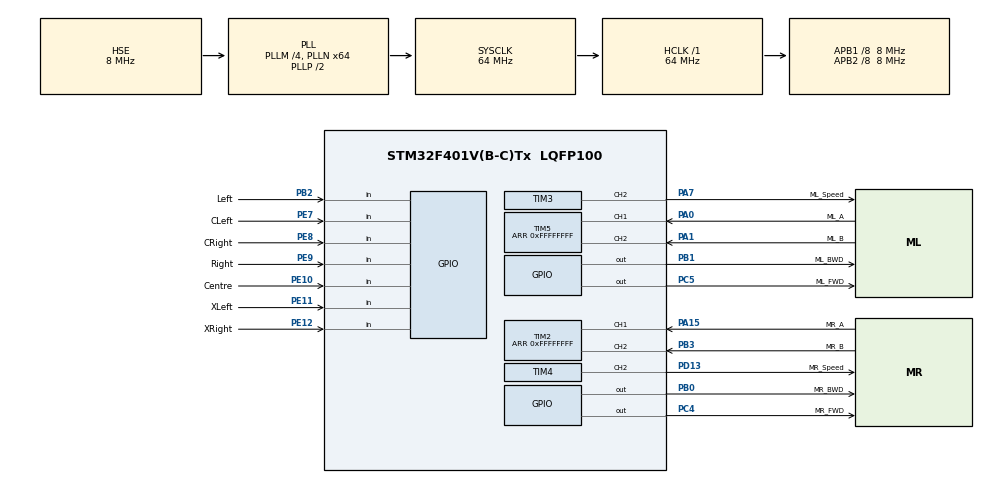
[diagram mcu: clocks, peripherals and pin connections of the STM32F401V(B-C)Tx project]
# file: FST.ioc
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Mcu.Family=STM32F4
Mcu.Name=STM32F401V(B-C)Tx
Mcu.Package=LQFP100
NVIC.PriorityGroup=NVIC_PRIORITYGROUP_0
NVIC.TIM1_UP_TIM10_IRQn=true\:0\:0\:false\:false\:true\:true\:true
PA0-WKUP.GPIO_Label=ML_A
PA0-WKUP.Signal=S_TIM5_CH1
PA1.GPIO_Label=ML_B
PA1.Signal=S_TIM5_CH2
PA13.Mode=Serial_Wire
PA13.Signal=SYS_JTMS-SWDIO
PA14.Mode=Serial_Wire
PA14.Signal=SYS_JTCK-SWCLK
PA15.GPIO_Label=MR_A
PA15.Signal=S_TIM2_CH1_ETR
PA7.GPIO_Label=ML_Speed
PA7.Signal=S_TIM3_CH2
PB0.GPIO_Label=MR_BWD
PB0.Signal=GPIO_Output
PB1.GPIO_Label=ML_BWD
PB1.Signal=GPIO_Output
PB2.GPIO_Label=Left
PB2.Signal=GPIO_Input
PB3.GPIO_Label=MR_B
PB3.Signal=S_TIM2_CH2
PC4.GPIO_Label=MR_FWD
PC4.Signal=GPIO_Output
PC5.GPIO_Label=ML_FWD
PC5.Signal=GPIO_Output
PD13.GPIO_Label=MR_Speed
PD13.Signal=S_TIM4_CH2
PE10.GPIO_Label=Centre
PE10.Signal=GPIO_Input
PE11.GPIO_Label=XLeft
PE11.Signal=GPIO_Input
PE12.GPIO_Label=XRight
PE12.Signal=GPIO_Input
PE7.GPIO_Label=CLeft
PE7.Signal=GPIO_Input
PE8.GPIO_Label=CRight
PE8.Signal=GPIO_Input
PE9.GPIO_Label=Right
PE9.Signal=GPIO_Input
PH0\ -\ OSC_IN.Mode=HSE-External-Oscillator
PH0\ -\ OSC_IN.Signal=RCC_OSC_IN
PH1\ -\ OSC_OUT.Mode=HSE-External-Oscillator
PH1\ -\ OSC_OUT.Signal=RCC_OSC_OUT
ProjectManager.HeapSize=0x200
ProjectManager.StackSize=0x400
ProjectManager.TargetToolchain=MDK-ARM V5.27
RCC.48MHZClocksFreq_Value=18285714.285714287
RCC.AHBFreq_Value=64000000
RCC.APB1CLKDivider=RCC_HCLK_DIV8
RCC.APB1Freq_Value=8000000
RCC.APB1TimFreq_Value=16000000
RCC.APB2CLKDivider=RCC_HCLK_DIV8
RCC.APB2Freq_Value=8000000
RCC.APB2TimFreq_Value=16000000
RCC.CortexFreq_Value=64000000
RCC.HCLKFreq_Value=64000000
RCC.HSE_VALUE=8000000
RCC.HSI_VALUE=16000000
RCC.LSE_VALUE=32768
RCC.PLLM=4
RCC.PLLN=64
RCC.PLLQ=7
RCC.PLLSourceVirtual=RCC_PLLSOURCE_HSE
RCC.SYSCLKFreq_VALUE=64000000
RCC.SYSCLKSource=RCC_SYSCLKSOURCE_PLLCLK
RCC.VCOOutputFreq_Value=128000000
SH.S_TIM2_CH1_ETR.0=TIM2_CH1,Encoder_Interface
SH.S_TIM2_CH2.0=TIM2_CH2,Encoder_Interface
SH.S_TIM3_CH2.0=TIM3_CH2,PWM Generation2 CH2
SH.S_TIM4_CH2.0=TIM4_CH2,PWM Generation2 CH2
SH.S_TIM5_CH1.0=TIM5_CH1,Encoder_Interface
SH.S_TIM5_CH2.0=TIM5_CH2,Encoder_Interface
TIM1.Period=65535
TIM1.Prescaler=16000
TIM1.TIM_MasterOutputTrigger=TIM_TRGO_UPDATE
TIM2.Period=0xFFFFFFFF
TIM3.Channel-PWM\ Generation2\ CH2=TIM_CHANNEL_2
TIM3.Period=1000
TIM3.Prescaler=16
TIM4.Channel-PWM\ Generation2\ CH2=TIM_CHANNEL_2
TIM4.Period=1000
TIM4.Prescaler=16
TIM5.Period=0xFFFFFFFF
VP_TIM1_VS_ClockSourceINT.Mode=Internal
board=STM32F401C-DISCO

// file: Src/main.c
#include "main.h"

/* USER CODE BEGIN Includes */
#include <stdbool.h>
/* USER CODE END Includes */

TIM_HandleTypeDef htim1;
TIM_HandleTypeDef htim2;
TIM_HandleTypeDef htim3;
TIM_HandleTypeDef htim4;
TIM_HandleTypeDef htim5;

void SystemClock_Config(void);
static void MX_GPIO_Init(void);
static void MX_TIM2_Init(void);
static void MX_TIM3_Init(void);
static void MX_TIM5_Init(void);
static void MX_TIM1_Init(void);
static void MX_TIM4_Init(void);

/* USER CODE BEGIN 0 */
void motorR_forward(uint32_t motor_speed);
void motorR_backward(uint32_t motor_speed);
void motorR_stop(void);
void motorL_forward(uint32_t motor_speed);
void motorL_backward(uint32_t motor_speed);
void motorL_stop(void);
void FWD(uint32_t motorR_speed,uint32_t motorL_speed);
void BWD(uint32_t motorR_speed,uint32_t motorL_speed);
void TurnL(int32_t motorR_speed,int32_t motorL_speed);
void TurnR(int32_t motorR_speed,int32_t motorL_speed);
void TurnLPro(int32_t motorR_speed,int32_t motorL_speed);
void TurnRPro(int32_t motorR_speed,int32_t motorL_speed);
void stop(void);
void readSensors(void);
void suiveur(void);
//************************************************************ MY Variables ******************************************************
//************************************************************ MY Variables ******************************************************
//************************************************************ MY Variables ******************************************************

bool L,CL,CR,R,C,XL,XR; // my sensors
bool reverse_line_color=false;
bool enable_TurnLPro=true;
bool enable_TurnRPro=false;
bool interrupted_line=false;
bool interrupted_line_done=false;
bool first_turn_after_9alba=true;
int32_t right_ticks=0;
int32_t left_ticks=0;
int32_t previous_right_ticks=0;
int32_t previous_left_ticks=0;
int32_t Rticks_diff=0;
int32_t Lticks_diff=0;
uint16_t right_speed=290;
uint16_t left_speed=330;
int16_t right_error=0;
int16_t left_error=0;
uint16_t desired_speed=55;
uint8_t kp=5;
uint16_t previous_time=0;
uint16_t change_line_time_mark=0;

//************************************************************ END OF MY VARIABLES ******************************************************
//************************************************************ END OF MY VARIABLES ******************************************************
//************************************************************ END OF MY VARIABLES ******************************************************

/* USER CODE END 0 */

int main(void)
{

  /* MCU Configuration--------------------------------------------------------*/

  /* Reset of all peripherals, Initializes the Flash interface and the Systick. */
  HAL_Init();

  /* Configure the system clock */
  SystemClock_Config();

  /* Initialize all configured peripherals */
  MX_GPIO_Init();
  MX_TIM2_Init();
  MX_TIM3_Init();
  MX_TIM5_Init();
  MX_TIM1_Init();
  MX_TIM4_Init();
  /* USER CODE BEGIN 2 */
	HAL_TIM_Base_Start_IT(&htim1);
	HAL_TIM_Encoder_Start(&htim2,TIM_CHANNEL_ALL);
	HAL_TIM_Encoder_Start(&htim5,TIM_CHANNEL_ALL);
  /* USER CODE END 2 */

  /* Infinite loop */
  /* USER CODE BEGIN WHILE */
	/*************************************************************my loop**********************************************************************/
	/*************************************************************my loop**********************************************************************/
	/*************************************************************my loop**********************************************************************/

while (1)
  {
		suiveur();
    /* USER CODE END WHILE */

    /* USER CODE BEGIN 3 */
  }

	/*******************************************************end of my loop**********************************************************************/
	/*******************************************************end of my loop**********************************************************************/
	/*******************************************************end of my loop**********************************************************************/
  /* USER CODE END 3 */
}

void SystemClock_Config(void)
{
  RCC_OscInitTypeDef RCC_OscInitStruct = {0};
  RCC_ClkInitTypeDef RCC_ClkInitStruct = {0};

  /** Configure the main internal regulator output voltage
  */
  __HAL_RCC_PWR_CLK_ENABLE();
  __HAL_PWR_VOLTAGESCALING_CONFIG(PWR_REGULATOR_VOLTAGE_SCALE2);
  /** Initializes the CPU, AHB and APB busses clocks
  */
  RCC_OscInitStruct.OscillatorType = RCC_OSCILLATORTYPE_HSE;
  RCC_OscInitStruct.HSEState = RCC_HSE_ON;
  RCC_OscInitStruct.PLL.PLLState = RCC_PLL_ON;
  RCC_OscInitStruct.PLL.PLLSource = RCC_PLLSOURCE_HSE;
  RCC_OscInitStruct.PLL.PLLM = 4;
  RCC_OscInitStruct.PLL.PLLN = 64;
  RCC_OscInitStruct.PLL.PLLP = RCC_PLLP_DIV2;
  RCC_OscInitStruct.PLL.PLLQ = 7;
  if (HAL_RCC_OscConfig(&RCC_OscInitStruct) != HAL_OK)
  {
    Error_Handler();
  }
  /** Initializes the CPU, AHB and APB busses clocks
  */
  RCC_ClkInitStruct.ClockType = RCC_CLOCKTYPE_HCLK|RCC_CLOCKTYPE_SYSCLK
                              |RCC_CLOCKTYPE_PCLK1|RCC_CLOCKTYPE_PCLK2;
  RCC_ClkInitStruct.SYSCLKSource = RCC_SYSCLKSOURCE_PLLCLK;
  RCC_ClkInitStruct.AHBCLKDivider = RCC_SYSCLK_DIV1;
  RCC_ClkInitStruct.APB1CLKDivider = RCC_HCLK_DIV8;
  RCC_ClkInitStruct.APB2CLKDivider = RCC_HCLK_DIV8;

  if (HAL_RCC_ClockConfig(&RCC_ClkInitStruct, FLASH_LATENCY_2) != HAL_OK)
  {
    Error_Handler();
  }
}

static void MX_TIM1_Init(void)
{

  TIM_ClockConfigTypeDef sClockSourceConfig = {0};
  TIM_MasterConfigTypeDef sMasterConfig = {0};

  htim1.Instance = TIM1;
  htim1.Init.Prescaler = 16000;
  htim1.Init.CounterMode = TIM_COUNTERMODE_UP;
  htim1.Init.Period = 65535;
  htim1.Init.ClockDivision = TIM_CLOCKDIVISION_DIV1;
  htim1.Init.RepetitionCounter = 0;
  htim1.Init.AutoReloadPreload = TIM_AUTORELOAD_PRELOAD_DISABLE;
  if (HAL_TIM_Base_Init(&htim1) != HAL_OK)
  {
    Error_Handler();
  }
  sClockSourceConfig.ClockSource = TIM_CLOCKSOURCE_INTERNAL;
  if (HAL_TIM_ConfigClockSource(&htim1, &sClockSourceConfig) != HAL_OK)
  {
    Error_Handler();
  }
  sMasterConfig.MasterOutputTrigger = TIM_TRGO_UPDATE;
  sMasterConfig.MasterSlaveMode = TIM_MASTERSLAVEMODE_DISABLE;
  if (HAL_TIMEx_MasterConfigSynchronization(&htim1, &sMasterConfig) != HAL_OK)
  {
    Error_Handler();
  }

}

static void MX_TIM2_Init(void)
{

  TIM_Encoder_InitTypeDef sConfig = {0};
  TIM_MasterConfigTypeDef sMasterConfig = {0};

  htim2.Instance = TIM2;
  htim2.Init.Prescaler = 0;
  htim2.Init.CounterMode = TIM_COUNTERMODE_UP;
  htim2.Init.Period = 0xFFFFFFFF;
  htim2.Init.ClockDivision = TIM_CLOCKDIVISION_DIV1;
  htim2.Init.AutoReloadPreload = TIM_AUTORELOAD_PRELOAD_DISABLE;
  sConfig.EncoderMode = TIM_ENCODERMODE_TI1;
  sConfig.IC1Polarity = TIM_ICPOLARITY_RISING;
  sConfig.IC1Selection = TIM_ICSELECTION_DIRECTTI;
  sConfig.IC1Prescaler = TIM_ICPSC_DIV1;
  sConfig.IC1Filter = 0;
  sConfig.IC2Polarity = TIM_ICPOLARITY_RISING;
  sConfig.IC2Selection = TIM_ICSELECTION_DIRECTTI;
  sConfig.IC2Prescaler = TIM_ICPSC_DIV1;
  sConfig.IC2Filter = 0;
  if (HAL_TIM_Encoder_Init(&htim2, &sConfig) != HAL_OK)
  {
    Error_Handler();
  }
  sMasterConfig.MasterOutputTrigger = TIM_TRGO_RESET;
  sMasterConfig.MasterSlaveMode = TIM_MASTERSLAVEMODE_DISABLE;
  if (HAL_TIMEx_MasterConfigSynchronization(&htim2, &sMasterConfig) != HAL_OK)
  {
    Error_Handler();
  }

}

static void MX_TIM3_Init(void)
{

  TIM_MasterConfigTypeDef sMasterConfig = {0};
  TIM_OC_InitTypeDef sConfigOC = {0};

  htim3.Instance = TIM3;
  htim3.Init.Prescaler = 16;
  htim3.Init.CounterMode = TIM_COUNTERMODE_UP;
  htim3.Init.Period = 1000;
  htim3.Init.ClockDivision = TIM_CLOCKDIVISION_DIV1;
  htim3.Init.AutoReloadPreload = TIM_AUTORELOAD_PRELOAD_DISABLE;
  if (HAL_TIM_PWM_Init(&htim3) != HAL_OK)
  {
    Error_Handler();
  }
  sMasterConfig.MasterOutputTrigger = TIM_TRGO_RESET;
  sMasterConfig.MasterSlaveMode = TIM_MASTERSLAVEMODE_DISABLE;
  if (HAL_TIMEx_MasterConfigSynchronization(&htim3, &sMasterConfig) != HAL_OK)
  {
    Error_Handler();
  }
  sConfigOC.OCMode = TIM_OCMODE_PWM1;
  sConfigOC.Pulse = 0;
  sConfigOC.OCPolarity = TIM_OCPOLARITY_HIGH;
  sConfigOC.OCFastMode = TIM_OCFAST_DISABLE;
  if (HAL_TIM_PWM_ConfigChannel(&htim3, &sConfigOC, TIM_CHANNEL_2) != HAL_OK)
  {
    Error_Handler();
  }
  HAL_TIM_MspPostInit(&htim3);

}

static void MX_TIM4_Init(void)
{

  TIM_MasterConfigTypeDef sMasterConfig = {0};
  TIM_OC_InitTypeDef sConfigOC = {0};

  htim4.Instance = TIM4;
  htim4.Init.Prescaler = 16;
  htim4.Init.CounterMode = TIM_COUNTERMODE_UP;
  htim4.Init.Period = 1000;
  htim4.Init.ClockDivision = TIM_CLOCKDIVISION_DIV1;
  htim4.Init.AutoReloadPreload = TIM_AUTORELOAD_PRELOAD_DISABLE;
  if (HAL_TIM_PWM_Init(&htim4) != HAL_OK)
  {
    Error_Handler();
  }
  sMasterConfig.MasterOutputTrigger = TIM_TRGO_RESET;
  sMasterConfig.MasterSlaveMode = TIM_MASTERSLAVEMODE_DISABLE;
  if (HAL_TIMEx_MasterConfigSynchronization(&htim4, &sMasterConfig) != HAL_OK)
  {
    Error_Handler();
  }
  sConfigOC.OCMode = TIM_OCMODE_PWM1;
  sConfigOC.Pulse = 0;
  sConfigOC.OCPolarity = TIM_OCPOLARITY_HIGH;
  sConfigOC.OCFastMode = TIM_OCFAST_DISABLE;
  if (HAL_TIM_PWM_ConfigChannel(&htim4, &sConfigOC, TIM_CHANNEL_2) != HAL_OK)
  {
    Error_Handler();
  }
  HAL_TIM_MspPostInit(&htim4);

}

static void MX_TIM5_Init(void)
{

  TIM_Encoder_InitTypeDef sConfig = {0};
  TIM_MasterConfigTypeDef sMasterConfig = {0};

  htim5.Instance = TIM5;
  htim5.Init.Prescaler = 0;
  htim5.Init.CounterMode = TIM_COUNTERMODE_UP;
  htim5.Init.Period = 0xFFFFFFFF;
  htim5.Init.ClockDivision = TIM_CLOCKDIVISION_DIV1;
  htim5.Init.AutoReloadPreload = TIM_AUTORELOAD_PRELOAD_DISABLE;
  sConfig.EncoderMode = TIM_ENCODERMODE_TI1;
  sConfig.IC1Polarity = TIM_ICPOLARITY_RISING;
  sConfig.IC1Selection = TIM_ICSELECTION_DIRECTTI;
  sConfig.IC1Prescaler = TIM_ICPSC_DIV1;
  sConfig.IC1Filter = 0;
  sConfig.IC2Polarity = TIM_ICPOLARITY_RISING;
  sConfig.IC2Selection = TIM_ICSELECTION_DIRECTTI;
  sConfig.IC2Prescaler = TIM_ICPSC_DIV1;
  sConfig.IC2Filter = 0;
  if (HAL_TIM_Encoder_Init(&htim5, &sConfig) != HAL_OK)
  {
    Error_Handler();
  }
  sMasterConfig.MasterOutputTrigger = TIM_TRGO_RESET;
  sMasterConfig.MasterSlaveMode = TIM_MASTERSLAVEMODE_DISABLE;
  if (HAL_TIMEx_MasterConfigSynchronization(&htim5, &sMasterConfig) != HAL_OK)
  {
    Error_Handler();
  }

}

static void MX_GPIO_Init(void)
{
  GPIO_InitTypeDef GPIO_InitStruct = {0};

  /* GPIO Ports Clock Enable */
  __HAL_RCC_GPIOH_CLK_ENABLE();
  __HAL_RCC_GPIOA_CLK_ENABLE();
  __HAL_RCC_GPIOC_CLK_ENABLE();
  __HAL_RCC_GPIOB_CLK_ENABLE();
  __HAL_RCC_GPIOE_CLK_ENABLE();
  __HAL_RCC_GPIOD_CLK_ENABLE();

  /*Configure GPIO pin Output Level */
  HAL_GPIO_WritePin(GPIOC, MR_FWD_Pin|ML_FWD_Pin, GPIO_PIN_RESET);

  /*Configure GPIO pin Output Level */
  HAL_GPIO_WritePin(GPIOB, MR_BWD_Pin|ML_BWD_Pin, GPIO_PIN_RESET);

  /*Configure GPIO pins : MR_FWD_Pin ML_FWD_Pin */
  GPIO_InitStruct.Pin = MR_FWD_Pin|ML_FWD_Pin;
  GPIO_InitStruct.Mode = GPIO_MODE_OUTPUT_PP;
  GPIO_InitStruct.Pull = GPIO_NOPULL;
  GPIO_InitStruct.Speed = GPIO_SPEED_FREQ_LOW;
  HAL_GPIO_Init(GPIOC, &GPIO_InitStruct);

  /*Configure GPIO pins : MR_BWD_Pin ML_BWD_Pin */
  GPIO_InitStruct.Pin = MR_BWD_Pin|ML_BWD_Pin;
  GPIO_InitStruct.Mode = GPIO_MODE_OUTPUT_PP;
  GPIO_InitStruct.Pull = GPIO_NOPULL;
  GPIO_InitStruct.Speed = GPIO_SPEED_FREQ_LOW;
  HAL_GPIO_Init(GPIOB, &GPIO_InitStruct);

  /*Configure GPIO pin : Left_Pin */
  GPIO_InitStruct.Pin = Left_Pin;
  GPIO_InitStruct.Mode = GPIO_MODE_INPUT;
  GPIO_InitStruct.Pull = GPIO_NOPULL;
  HAL_GPIO_Init(Left_GPIO_Port, &GPIO_InitStruct);

  /*Configure GPIO pins : CLeft_Pin CRight_Pin Right_Pin Centre_Pin
                           XLeft_Pin XRight_Pin */
  GPIO_InitStruct.Pin = CLeft_Pin|CRight_Pin|Right_Pin|Centre_Pin
                          |XLeft_Pin|XRight_Pin;
  GPIO_InitStruct.Mode = GPIO_MODE_INPUT;
  GPIO_InitStruct.Pull = GPIO_NOPULL;
  HAL_GPIO_Init(GPIOE, &GPIO_InitStruct);

}

/* USER CODE BEGIN 4 */
//************************************************************ MY Functions ******************************************************
//************************************************************ MY Functions ******************************************************
//************************************************************ MY Functions ******************************************************

void readSensors(void) //************************************************************************** readSensors
{
	L=HAL_GPIO_ReadPin(Left_GPIO_Port,Left_Pin);
	CL=HAL_GPIO_ReadPin(CLeft_GPIO_Port,CLeft_Pin);
	CR=HAL_GPIO_ReadPin(CRight_GPIO_Port,CRight_Pin);
	R=HAL_GPIO_ReadPin(Right_GPIO_Port,Right_Pin);
	C=!HAL_GPIO_ReadPin(Centre_GPIO_Port,Centre_Pin);
	XL=!HAL_GPIO_ReadPin(XLeft_GPIO_Port,XLeft_Pin);
	XR=!HAL_GPIO_ReadPin(XRight_GPIO_Port,XRight_Pin);
	if (!reverse_line_color)
	{
		L=!L;
		CL=!CL;
		CR=!CR;
		R=!R;
		C=!C;
		XL=!XL;
		XR=!XR;
	}
}

void motorR_forward(uint32_t motor_speed)
{
	HAL_GPIO_WritePin(MR_FWD_GPIO_Port,MR_FWD_Pin,GPIO_PIN_SET);
	HAL_GPIO_WritePin(MR_BWD_GPIO_Port,MR_BWD_Pin,GPIO_PIN_RESET);
	HAL_TIM_PWM_Stop(&htim4, TIM_CHANNEL_2);
	TIM4->CCR2=motor_speed;
	HAL_TIM_PWM_Start(&htim4, TIM_CHANNEL_2);
}
void motorR_backward(uint32_t motor_speed)
{
	HAL_GPIO_WritePin(MR_FWD_GPIO_Port,MR_FWD_Pin,GPIO_PIN_RESET);
	HAL_GPIO_WritePin(MR_BWD_GPIO_Port,MR_BWD_Pin,GPIO_PIN_SET);
	HAL_TIM_PWM_Stop(&htim4, TIM_CHANNEL_2);
	TIM4->CCR2=motor_speed;
	HAL_TIM_PWM_Start(&htim4, TIM_CHANNEL_2);
}
void motorR_stop(void)
{
	HAL_GPIO_WritePin(MR_FWD_GPIO_Port,MR_FWD_Pin,GPIO_PIN_SET);
	HAL_GPIO_WritePin(MR_BWD_GPIO_Port,MR_BWD_Pin,GPIO_PIN_SET);
	HAL_TIM_PWM_Stop(&htim4, TIM_CHANNEL_2);
	TIM4->CCR2=0;
	HAL_TIM_PWM_Start(&htim4, TIM_CHANNEL_2);
}

void motorL_forward(uint32_t motor_speed)
{
	HAL_GPIO_WritePin(ML_FWD_GPIO_Port,ML_FWD_Pin,GPIO_PIN_SET);
	HAL_GPIO_WritePin(ML_BWD_GPIO_Port,ML_BWD_Pin,GPIO_PIN_RESET);
	HAL_TIM_PWM_Stop(&htim3, TIM_CHANNEL_2);
	TIM3->CCR2=motor_speed;
	HAL_TIM_PWM_Start(&htim3,TIM_CHANNEL_2);
}
void motorL_backward(uint32_t motor_speed)
{
	HAL_GPIO_WritePin(ML_FWD_GPIO_Port,ML_FWD_Pin,GPIO_PIN_RESET);
	HAL_GPIO_WritePin(ML_BWD_GPIO_Port,ML_BWD_Pin,GPIO_PIN_SET);
	HAL_TIM_PWM_Stop(&htim3, TIM_CHANNEL_2);
	TIM3->CCR2=motor_speed;
	HAL_TIM_PWM_Start(&htim3,TIM_CHANNEL_2);
}
void motorL_stop(void)
{
	HAL_GPIO_WritePin(ML_FWD_GPIO_Port,ML_FWD_Pin,GPIO_PIN_SET);
	HAL_GPIO_WritePin(ML_BWD_GPIO_Port,ML_BWD_Pin,GPIO_PIN_SET);
	HAL_TIM_PWM_Stop(&htim3, TIM_CHANNEL_2);
	TIM3->CCR2=0;
	HAL_TIM_PWM_Start(&htim3,TIM_CHANNEL_2);
}

void FWD(uint32_t motorR_speed,uint32_t motorL_speed)
{
	motorR_forward(motorR_speed);
	motorL_forward(motorL_speed);
}
void BWD(uint32_t motorR_speed,uint32_t motorL_speed)
{
	motorR_backward(motorR_speed);
	motorL_backward(motorL_speed);
}

void TurnL(int32_t motorR_speed,int32_t motorL_speed)
{
	if(motorL_speed>0)
	{
		motorL_forward(motorL_speed);
	}
	else
	{
		motorL_backward(-motorL_speed);
	}
	motorR_forward(motorR_speed);
}
void TurnR(int32_t motorR_speed,int32_t motorL_speed)
{
	if(motorR_speed>0)
	{
		motorR_forward(motorR_speed);
	}
	else
	{
		motorR_backward(-motorR_speed);
	}
	motorL_forward(motorL_speed);
}

void TurnLPro(int32_t motorR_speed,int32_t motorL_speed) //****************************************** TurnLPro
{
	TIM2->CNT=0;
	TIM5->CNT=0;
	while(TIM5->CNT<150) /*********************** imin *************************/
	{
		TurnR(0,300);
	}
	readSensors();
	if(XL && XR) /**************************************************** 9alba ****************************/
	{
		if(reverse_line_color)
		{
			stop();
			while(1)
			{

			}
		}
		else
		{
		reverse_line_color=true;
		change_line_time_mark=TIM1->CNT;
		}
	}
	else
	{
		if(first_turn_after_9alba && reverse_line_color)
		{
			interrupted_line_done=false;
			first_turn_after_9alba=false;
		}
		if(motorL_speed>0)
		{
			motorL_forward(motorL_speed);
		}
		else
		{
			motorL_backward(-motorL_speed);
		}
		motorR_forward(motorR_speed);
		while(!C)/****************************************************************** dour issar ********/
		{
			readSensors();
		}
		TurnR(-250,250);/******************************************************************** dour imin ********/
		HAL_Delay(50);
	}
}
void TurnRPro(int32_t motorR_speed,int32_t motorL_speed) //****************************************** TurnRPro
{
	TIM2->CNT=0;
	TIM5->CNT=0;

	while(TIM2->CNT<150)/*********************** issar ************************/
	{
		TurnL(300,0);
	}
	readSensors();
	if(XL && XR) /**************************************************** 9alba ****************************/
	{
		if(reverse_line_color)
		{
			stop();
			while(1)
			{

			}
		}
		else
		{
		reverse_line_color=true;
		change_line_time_mark=TIM1->CNT;
		}
	}
	else
	{
		if(first_turn_after_9alba && reverse_line_color)
		{
			interrupted_line_done=false;
			first_turn_after_9alba=false;
		}
		if(motorR_speed>0)
		{
			motorR_forward(motorR_speed);
		}
		else
		{
			motorR_backward(-motorR_speed);
		}
		motorL_forward(motorL_speed);
			while(!C) /******************************************************************** dour imin ********/
		{
			readSensors();
		}
		TurnL(250,-250); /************************************************************* dour issar **********/
		HAL_Delay(50);
	}
}
void stop(void)
{
	motorR_stop();
	motorL_stop();
}

/******************************************************* Suiveur **********************************************************************/
/******************************************************* Suiveur **********************************************************************/
/******************************************************* Suiveur **********************************************************************/
/******************************************************* Suiveur **********************************************************************/
/******************************************************* Suiveur **********************************************************************/

void suiveur(void)
{
	readSensors();
	if(XL && XR) /**************************************************** 9alba ****************************/
	{
		if(reverse_line_color)
		{
			stop();
			while(1)
			{

			}
		}
		else
		{
		interrupted_line_done=false;
		reverse_line_color=true;
		change_line_time_mark=TIM1->CNT;
		}
	}
	else if(!L && !CL && !CR && !R && C && !interrupted_line_done) /**************************************************** interrompu ****************************/
	{
		interrupted_line=true;
	}
	//else if(XL && enable_TurnLPro)
	else if(XL) /**************************************************** doura isssar pro ****************************/
	{
		if(interrupted_line)
		{
			interrupted_line=false;
		}
			enable_TurnLPro=false;
			TurnLPro(250,-250);
	}
	//else if(XR && enable_TurnRPro)
	else if(XR) /**************************************************** doura imin pro ****************************/
	{
		if(interrupted_line)
		{
			interrupted_line=false;
			interrupted_line_done=true;
		}
			enable_TurnRPro=false;
			TurnRPro(-250,250);
	}
	else if(L && !R) /**************************************************** doura issar ****************************/
	{
			TurnL(350,0);
	}
	else if(!L && R) /**************************************************** doura imin ****************************/
	{
			TurnR(0,350);
	}
	else if(!XL && !L && !CL && !CR && !R && !XR && !C && !interrupted_line) /******** arb3a byodh *******/
	{
		while(!XL && !L && !CL && !CR && !R && !XR && !C)
		{
			readSensors();
			BWD(300,300);
		}
		HAL_Delay(200);
	}
	else if(!L && CL && !CR && !R) /************************************************ tasli7 issar ***************************/
	{
		int i=0;
		while(!L && CL && !CR && !R)
		{
			if(right_speed+i<330)
			{
				i++;
			}
			FWD(right_speed+i,left_speed);
			readSensors();
		}
	}
	else if(!L && !CL && CR && !R) /************************************************ tasli7 imin ***************************/
	{
		int i=0;
		while(!L && !CL && CR && !R)
		{
			if(left_speed+i<370)
			{
				i++;
			}
			FWD(right_speed,left_speed+i);
			readSensors();
		}
	}
	else
		{
			FWD(right_speed,left_speed);
		}
}

/*********************************************************** Fin Suiveur **********************************************************************/
/*********************************************************** Fin Suiveur **********************************************************************/
/*********************************************************** Fin Suiveur **********************************************************************/
/*********************************************************** Fin Suiveur **********************************************************************/

void HAL_TIM_PeriodElapsedCallback(TIM_HandleTypeDef *htim)
{
/* asservissement
			Rticks_diff=TIM2->CNT-right_ticks;
			Lticks_diff=TIM5->CNT-left_ticks;
			right_ticks=TIM2->CNT;
			left_ticks=TIM5->CNT;
			right_error=Rticks_diff-desired_speed;
			left_error=Lticks_diff-desired_speed;
			right_speed=right_speed-kp*right_error;
			left_speed=left_speed-kp*left_error;

			if(right_speed>400)
			{
				right_speed=400;
			}
			else if(right_speed<200)
			{
				right_speed=200;
			}
			if(left_speed>400)
			{
				left_speed=400;
			}
			else if(left_speed<200)
			{
				left_speed=200;
			}
			fin asservissement */
}

//****************************************************** END OF MY Functions ******************************************************
//****************************************************** END OF MY Functions ******************************************************
//****************************************************** END OF MY Functions ******************************************************

/* USER CODE END 4 */

void Error_Handler(void)
{
}

/************************ (C) COPYRIGHT STMicroelectronics *****END OF FILE****/
